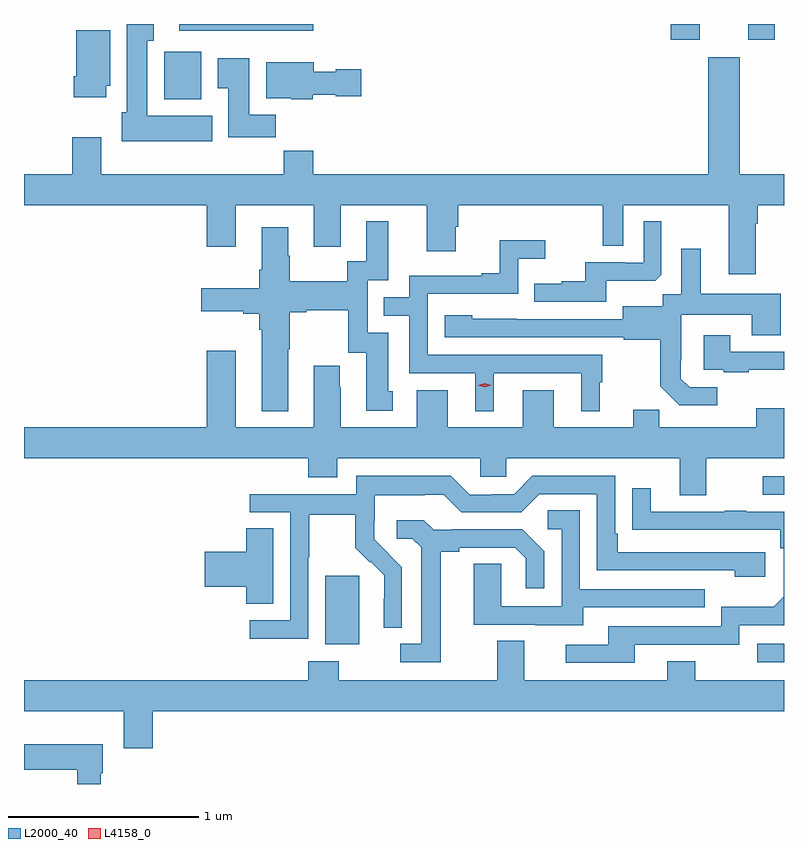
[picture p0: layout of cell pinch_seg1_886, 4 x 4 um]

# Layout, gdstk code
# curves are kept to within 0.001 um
import gdstk
lib = gdstk.Library(unit=1e-6, precision=1e-09)
def R(c, l, rs):  # rectangles x0, y0, x1, y1
    for r in rs: c.add(gdstk.rectangle(r[:2], r[2:], *l))
def P(c, l, *ps):  # polygons
    for p in ps: c.add(gdstk.Polygon(p, *l))
L2000_40 = (2000, 40)
L4158_0 = (4158, 0)

pinch_seg1_886 = lib.new_cell('pinch_seg1_886')
R(pinch_seg1_886, L2000_40, [(627.357,540.003,627.499,540.099), (625.085,540.098,625.264,540.459), (627.387,540.885,627.499,540.981), (624.237,542.966,624.433,543.216), (626.903,543.279,627.055,543.362), (627.311,543.279,627.451,543.362), (624.317,543.326,625.022,543.362)])
P(pinch_seg1_886, L2000_40, [(624.49,542.878),(624.148,542.878),(624.148,543.275),(624.181,543.275),(624.181,543.362),(624.041,543.362),(624.041,542.898),(624.014,542.898),(624.014,542.744),(624.49,542.744)],
  [(623.932,543.036),(623.953,543.036),(623.953,543.328),(623.774,543.328),(623.774,543.088),(623.762,543.088),(623.762,542.976),(623.932,542.976)],
  [(627.349,542.312),(627.362,542.312),(627.362,542.408),(627.499,542.408),(627.499,542.572),(627.265,542.572),(627.265,543.187),(627.101,543.187),(627.101,542.572),(625.022,542.572),(625.022,542.696),(624.865,542.696),(624.865,542.572),(623.905,542.572),(623.905,542.767),(623.753,542.767),(623.753,542.572),(623.499,542.572),(623.499,542.408),(624.461,542.408),(624.461,542.19),(624.613,542.19),(624.613,542.408),(625.025,542.408),(625.025,542.19),(625.165,542.19),(625.165,542.408),(625.619,542.408),(625.619,542.166),(625.771,542.166),(625.771,542.295),(625.784,542.295),(625.784,542.408),(626.544,542.408),(626.544,542.194),(626.652,542.194),(626.652,542.408),(627.209,542.408),(627.209,542.046),(627.349,542.046)],
  [(624.824,542.884),(624.685,542.884),(624.685,543.181),(624.518,543.181),(624.518,543.025),(624.575,543.025),(624.575,542.766),(624.824,542.766)],
  [(625.02,542.99),(625.14,542.99),(625.14,542.983),(625.273,542.983),(625.273,543.125),(625.14,543.125),(625.14,543.112),(625.024,543.112),(625.024,543.16),(624.773,543.16),(624.773,542.972),(624.906,542.972),(624.906,542.966),(625.02,542.966)],
  [(626.563,542.012),(626.821,542.012),(626.853,542.043),(626.853,542.323),(626.76,542.323),(626.76,542.106),(626.66,542.106),(626.66,542.109),(626.453,542.109),(626.453,542.008),(626.329,542.008),(626.329,541.996),(626.185,541.996),(626.185,541.899),(626.563,541.899)],
  [(624.889,541.651),(624.897,541.651),(624.897,541.844),(624.985,541.844),(624.985,541.856),(625.205,541.856),(625.205,541.632),(625.301,541.632),(625.301,541.326),(625.441,541.326),(625.441,541.428),(625.417,541.428),(625.417,541.737),(625.308,541.737),(625.308,542.013),(625.417,542.013),(625.417,542.323),(625.301,542.323),(625.301,542.114),(625.2,542.114),(625.2,542.008),(624.897,542.008),(624.897,542.142),(624.889,542.142),(624.889,542.293),(624.749,542.293),(624.749,542.068),(624.737,542.068),(624.737,541.972),(624.432,541.972),(624.432,541.85),(624.653,541.85),(624.653,541.838),(624.737,541.838),(624.737,541.754),(624.749,541.754),(624.749,541.325),(624.889,541.325)],
  [(625.972,541.524),(626.432,541.524),(626.432,541.325),(626.53,541.325),(626.53,541.476),(626.542,541.476),(626.542,541.62),(625.623,541.62),(625.623,541.941),(626.1,541.941),(626.1,542.126),(626.242,542.126),(626.242,542.225),(626.002,542.225),(626.002,542.05),(625.907,542.05),(625.907,542.037),(625.527,542.037),(625.527,541.923),(625.393,541.923),(625.393,541.827),(625.527,541.827),(625.527,541.524),(625.874,541.524),(625.874,541.325),(625.972,541.325)],
  [(627.148,541.449),(627.003,541.449),(626.956,541.496),(626.956,541.591),(626.958,541.591),(626.958,541.832),(627.329,541.832),(627.329,541.723),(627.481,541.723),(627.481,541.942),(627.061,541.942),(627.061,542.179),(626.957,542.179),(626.957,541.94),(626.862,541.94),(626.862,541.876),(626.651,541.876),(626.651,541.809),(625.857,541.81),(625.857,541.828),(625.713,541.828),(625.713,541.713),(626.655,541.713),(626.655,541.701),(626.847,541.701),(626.847,541.455),(626.947,541.355),(627.148,541.355)],
  [(627.313,541.541),(627.499,541.541),(627.499,541.638),(627.217,541.638),(627.217,541.723),(627.077,541.723),(627.077,541.542),(627.181,541.542),(627.181,541.53),(627.313,541.53)],
  [(627.091,541.076),(627.499,541.076),(627.499,541.339),(627.353,541.339),(627.353,541.24),(626.843,541.24),(626.843,541.331),(626.705,541.331),(626.705,541.24),(626.287,541.24),(626.287,541.435),(626.123,541.435),(626.123,541.24),(625.729,541.24),(625.729,541.435),(625.565,541.435),(625.565,541.24),(625.165,541.24),(625.165,541.451),(625.162,541.451),(625.162,541.564),(625.025,541.564),(625.025,541.24),(624.613,541.24),(624.613,541.642),(624.461,541.642),(624.461,541.24),(623.499,541.24),(623.499,541.076),(624.995,541.076),(624.995,540.977),(625.147,540.977),(625.147,541.076),(625.899,541.076),(625.899,540.978),(626.037,540.978),(626.037,541.076),(626.951,541.076),(626.951,540.882),(627.091,540.882)],
  [(624.996,540.556),(624.999,540.556),(624.999,540.78),(625.243,540.78),(625.243,540.605),(625.32,540.528),(625.323,540.531),(625.394,540.461),(625.394,540.338),(625.392,540.338),(625.392,540.184),(625.488,540.184),(625.488,540.502),(625.342,540.65),(625.342,540.747),(625.344,540.747),(625.344,540.881),(625.607,540.881),(625.607,540.885),(625.707,540.885),(625.8,540.792),(626.115,540.792),(626.211,540.888),(626.514,540.888),(626.514,540.486),(627.239,540.486),(627.239,540.452),(627.4,540.452),(627.4,540.582),(626.623,540.582),(626.623,540.679),(626.61,540.679),(626.61,540.984),(626.175,540.984),(626.079,540.888),(625.961,540.888),(625.961,540.885),(625.845,540.885),(625.745,540.985),(625.248,540.985),(625.248,540.888),(624.687,540.888),(624.687,540.792),(624.9,540.792),(624.9,540.225),(624.687,540.225),(624.687,540.127),(624.996,540.127)],
  [(626.713,540.096),(627.264,540.096),(627.264,540.198),(627.499,540.198),(627.499,540.795),(627.299,540.795),(627.299,540.8),(627.187,540.8),(627.187,540.795),(626.797,540.795),(626.797,540.919),(626.701,540.919),(626.701,540.7),(627.478,540.699),(627.478,540.602),(627.498,540.602),(627.498,540.348),(627.445,540.295),(627.168,540.295),(627.168,540.192),(626.573,540.192),(626.573,540.096),(626.349,540.096),(626.349,540),(626.713,540)],
  [(626.443,540.291),(627.083,540.291),(627.083,540.387),(626.424,540.387),(626.424,540.803),(626.256,540.803),(626.256,540.702),(626.328,540.702),(626.328,540.297),(626.01,540.297),(626.01,540.521),(625.865,540.521),(625.865,540.201),(626.189,540.201),(626.189,540.197),(626.443,540.197)],
  [(625.693,540.584),(625.789,540.584),(625.789,540.606),(626.084,540.606),(626.141,540.549),(626.141,540.393),(626.238,540.393),(626.238,540.586),(626.122,540.702),(625.75,540.702),(625.75,540.699),(625.656,540.699),(625.604,540.751),(625.461,540.751),(625.461,540.654),(625.542,540.654),(625.589,540.607),(625.589,540.099),(625.479,540.099),(625.479,540.003),(625.693,540.003)],
  [(624.811,540.707),(624.668,540.707),(624.668,540.584),(624.45,540.584),(624.45,540.401),(624.668,540.401),(624.668,540.31),(624.811,540.31)],
  [(624.176,539.744),(627.499,539.744),(627.499,539.908),(627.033,539.908),(627.033,540.007),(626.885,540.007),(626.885,539.908),(626.131,539.908),(626.131,540.116),(625.991,540.116),(625.991,539.908),(625.155,539.908),(625.155,540.007),(624.995,540.007),(624.995,539.908),(623.499,539.908),(623.499,539.744),(624.023,539.744),(624.023,539.55),(624.176,539.55)],
  [(623.902,539.418),(623.914,539.418),(623.914,539.572),(623.499,539.572),(623.499,539.438),(623.78,539.438),(623.78,539.362),(623.902,539.362)])
P(pinch_seg1_886, L4158_0, [(625.923,541.451),(625.887,541.461),(625.887,541.461),(625.887,541.461),(625.923,541.471),(625.959,541.461),(625.959,541.461),(625.959,541.461)])

lib.write_gds('pinch_seg1_886.gds')
